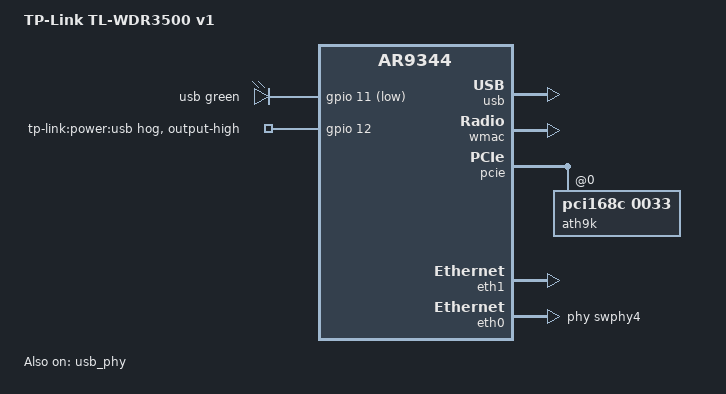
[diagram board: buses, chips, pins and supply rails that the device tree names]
// SPDX-License-Identifier: GPL-2.0-or-later OR MIT

#include <dt-bindings/leds/common.h>

#include "ar9344_tplink_tl-wdrxxxx.dtsi"

/ {
	model = "TP-Link TL-WDR3500 v1";
	compatible = "tplink,tl-wdr3500-v1", "qca,ar9344";

	aliases {
		label-mac-device = &wmac;
	};
};

&leds {
	usb {
		function = LED_FUNCTION_USB;
		color = <LED_COLOR_ID_GREEN>;
		gpios = <&gpio 11 GPIO_ACTIVE_LOW>;
		linux,default-trigger = "usbport";
		trigger-sources = <&hub_port>;
	};
};

&gpio {
	usb_power {
		gpio-hog;
		gpios = <12 GPIO_ACTIVE_HIGH>;
		output-high;
		line-name = "tp-link:power:usb";
	};
};

&pinmux {
	pmx_led_wan_lan: pinmux_led_wan_lan {
		pinctrl-single,bits = <0x10 0x2c2d0000 0xffff0000>,
			<0x14 0x292a2b 0xffffff>;
	};
};

&builtin_switch {
	pinctrl-names = "default";
	pinctrl-0 = <&pmx_led_wan_lan>;
};

&usb {
	status = "okay";
};

&usb_phy {
	status = "okay";
};

&wmac {
	status = "okay";
	nvmem-cells = <&macaddr_uboot_1fc00 0>, <&cal_art_1000>;
	nvmem-cell-names = "mac-address", "calibration";
};

&pcie {
	status = "okay";

	ath9k: wifi@0,0 {
		compatible = "pci168c,0033";
		reg = <0x0000 0 0 0 0>;
		#gpio-cells = <2>;
		gpio-controller;
		nvmem-cells = <&macaddr_uboot_1fc00 1>, <&cal_art_5000>;
		nvmem-cell-names = "mac-address", "calibration";
	};
};

&eth1 {
	status = "okay";

	nvmem-cells = <&macaddr_uboot_1fc00 (-1)>;
	nvmem-cell-names = "mac-address";

	gmac-config {
		device = <&gmac>;
		switch-phy-swap = <0>;
		switch-only-mode = <1>;
	};
};

&eth0 {
	status = "okay";

	phy-handle = <&swphy4>;

	nvmem-cells = <&macaddr_uboot_1fc00 2>;
	nvmem-cell-names = "mac-address";
};
